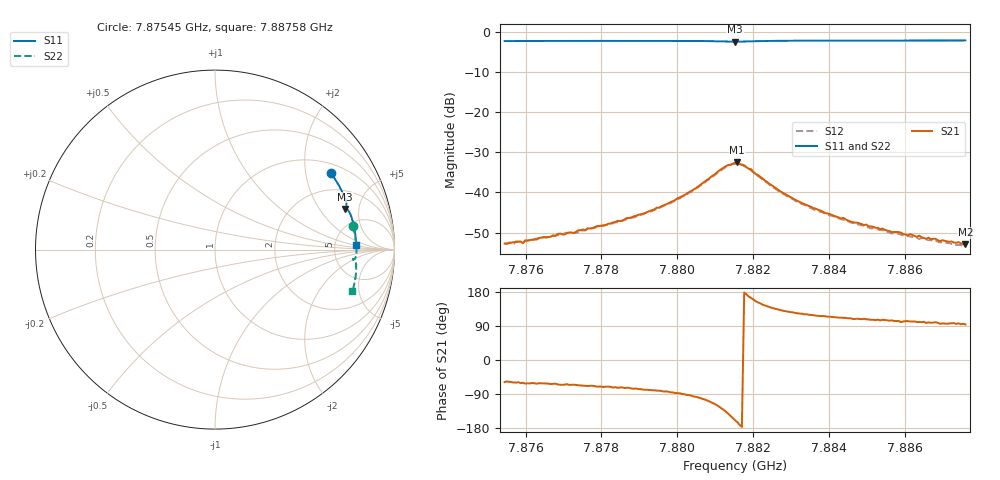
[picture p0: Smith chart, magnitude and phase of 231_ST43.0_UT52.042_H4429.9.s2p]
#  HZ  S  DB  R  50.00
! Rohde & Schwarz Vector Network Analyzer
! Rohde-Schwarz,ZNB20-2Port,1311601062101988,3.16
! Created: UTC 1/12/2023, 6:46:37 PM
! freq[Hz]  db:S11  ang:S11  db:S21  ang:S21  db:S12  ang:S12  db:S22  ang:S22
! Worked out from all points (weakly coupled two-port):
!   201 points, 7.87545 GHz to 7.88758 GHz, reference 50 ohm
!   highest |S21| = -32.44 dB at 7.88158 GHz (marker M1); lowest = -52.9 dB at 7.88758 GHz (marker M2)
!   lowest |S11| = -2.4 dB at 7.88152 GHz (marker M3), VSWR 7.34, Z = 167 + j179 ohm
!   |S11| at or under -10 dB: nowhere
!   |S22| runs from -2.3 to -1.9 dB; largest |S21 - S12| = 0.0021
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7.87545e9  -2.23 33.3  -52.74 -58.4  -52.71 -61.3  -2.15 9.6
7.875692e9  -2.22 32.7  -52.42 -59.4  -52.81 -62.4  -2.15 9.0
7.875753e9  -2.22 32.5  -52.37 -59.6  -52.15 -64.6  -2.15 8.9
7.875874e9  -2.22 32.2  -52.24 -60.9  -52.16 -63.9  -2.15 8.6
7.875935e9  -2.22 32.0  -52.66 -60.1  -52.34 -63.8  -2.14 8.5
7.875996e9  -2.22 31.8  -51.93 -62.3  -52.15 -63.3  -2.14 8.3
7.876784e9  -2.20 29.7  -50.85 -62.5  -50.79 -66.9  -2.12 6.5
7.876906e9  -2.20 29.4  -50.25 -65.2  -50.60 -69.0  -2.11 6.2
7.877269e9  -2.20 28.4  -50.14 -65.3  -50.01 -71.0  -2.10 5.3
7.877512e9  -2.19 27.7  -49.24 -67.6  -49.53 -71.5  -2.10 4.7
7.878543e9  -2.18 24.9  -47.02 -72.0  -47.11 -76.3  -2.08 2.4
7.879514e9  -2.17 22.2  -43.79 -81.2  -44.00 -84.6  -2.06 0.1
7.880181e9  -2.19 20.3  -40.68 -90.5  -40.85 -94.5  -2.07 -1.5
7.881212e9  -2.32 17.5  -33.84 -131.3  -34.05 -134.4  -2.21 -4.0
7.881515e9  -2.38 17.3  -32.61 -158.8  -32.89 -162.2  -2.27 -4.0
7.881576e9  -2.38 17.3  -32.44 -164.1  -32.88 -168.2  -2.27 -4.0
7.881818e9  -2.33 17.2  -33.72 173.0  -33.77 169.0  -2.22 -3.9
7.882728e9  -2.17 14.8  -39.83 131.3  -40.04 127.3  -2.04 -5.8
7.883577e9  -2.13 12.4  -43.92 118.3  -44.17 115.2  -2.00 -7.9
7.884548e9  -2.11 9.8  -47.26 110.3  -47.46 106.9  -1.97 -10.2
7.885579e9  -2.10 7.1  -49.63 103.7  -50.05 100.6  -1.96 -12.4
7.887581e9  -2.08 1.8  -52.94 93.8  -53.26 93.6  -1.94 -16.8
